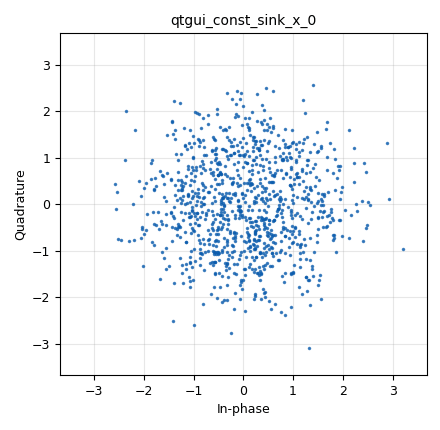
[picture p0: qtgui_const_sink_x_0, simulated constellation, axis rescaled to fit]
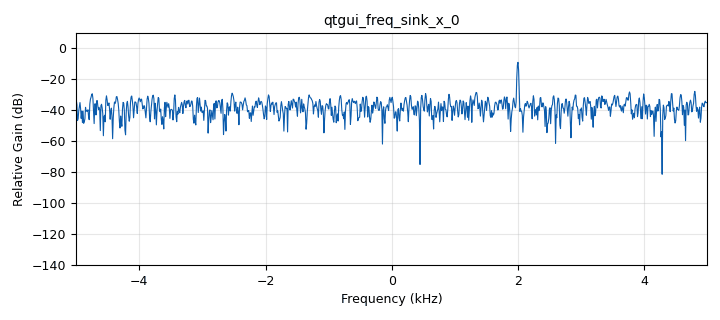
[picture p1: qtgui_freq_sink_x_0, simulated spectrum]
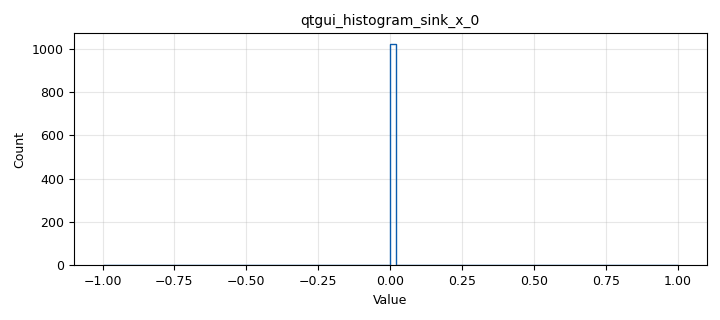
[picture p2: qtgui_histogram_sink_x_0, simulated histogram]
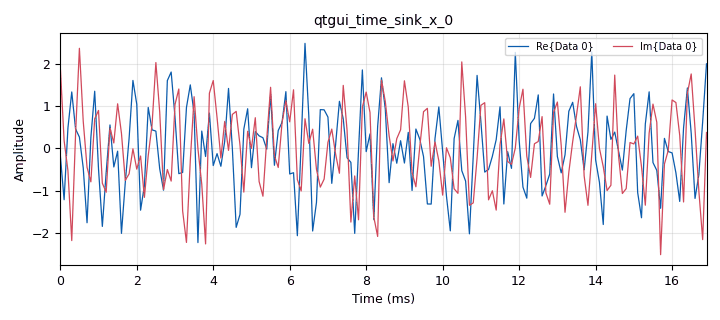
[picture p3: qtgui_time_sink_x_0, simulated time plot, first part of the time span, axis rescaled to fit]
<?xml version='1.0' encoding='utf-8'?>
<?grc format='1' created='3.7.13'?>
<flow_graph>
<block>
<key>options</key>
<param><key>id</key><value>ece531_lab1a</value></param>
<param><key>author</key><value>Brandon Lipjanic</value></param>
<param><key>generate_options</key><value>qt_gui</value></param>
</block>
<block>
<key>variable</key>
<param><key>id</key><value>freq</value></param>
<param><key>value</key><value>2000</value></param>
</block>
<block>
<key>variable_qtgui_range</key>
<param><key>id</key><value>frequency</value></param>
<param><key>value</key><value>2000</value></param>
<param><key>orient</key><value>Qt.Horizontal</value></param>
<param><key>start</key><value>0</value></param>
<param><key>step</key><value>100</value></param>
<param><key>stop</key><value>15000</value></param>
</block>
<block>
<key>variable_qtgui_range</key>
<param><key>id</key><value>magnitude</value></param>
<param><key>value</key><value>0</value></param>
<param><key>orient</key><value>Qt.Horizontal</value></param>
<param><key>start</key><value>0</value></param>
<param><key>step</key><value>0.01</value></param>
<param><key>stop</key><value>1</value></param>
</block>
<block>
<key>variable_qtgui_range</key>
<param><key>id</key><value>phase</value></param>
<param><key>value</key><value>0</value></param>
<param><key>orient</key><value>Qt.Horizontal</value></param>
<param><key>start</key><value>0</value></param>
<param><key>step</key><value>0.1</value></param>
<param><key>stop</key><value>6.2</value></param>
</block>
<block>
<key>variable_qtgui_range</key>
<param><key>id</key><value>samp_rate</value></param>
<param><key>value</key><value>10000</value></param>
<param><key>orient</key><value>Qt.Horizontal</value></param>
<param><key>start</key><value>1000</value></param>
<param><key>step</key><value>200</value></param>
<param><key>stop</key><value>40000</value></param>
</block>
<block>
<key>analog_noise_source_x</key>
<param><key>id</key><value>analog_noise_source_x_0</value></param>
<param><key>amp</key><value>1</value></param>
<param><key>noise_type</key><value>analog.GR_GAUSSIAN</value></param>
<param><key>type</key><value>complex</value></param>
<param><key>seed</key><value>0</value></param>
</block>
<block>
<key>analog_noise_source_x</key>
<param><key>id</key><value>analog_noise_source_x_0_0</value></param>
<param><key>amp</key><value>1</value></param>
<param><key>noise_type</key><value>analog.GR_IMPULSE</value></param>
<param><key>type</key><value>float</value></param>
<param><key>seed</key><value>0</value></param>
</block>
<block>
<key>analog_sig_source_x</key>
<param><key>id</key><value>analog_sig_source_x_0</value></param>
<param><key>amp</key><value>1</value></param>
<param><key>freq</key><value>frequency</value></param>
<param><key>offset</key><value>0</value></param>
<param><key>type</key><value>complex</value></param>
<param><key>samp_rate</key><value>samp_rate</value></param>
<param><key>waveform</key><value>analog.GR_SIN_WAVE</value></param>
</block>
<block>
<key>blocks_add_xx</key>
<param><key>id</key><value>blocks_add_xx_0</value></param>
<param><key>type</key><value>complex</value></param>
</block>
<block>
<key>blocks_throttle</key>
<param><key>id</key><value>blocks_throttle_0</value></param>
<param><key>samples_per_second</key><value>32000</value></param>
<param><key>type</key><value>complex</value></param>
</block>
<block>
<key>channels_iqbal_gen</key>
<param><key>id</key><value>channels_iqbal_gen_0</value></param>
<param><key>mag</key><value>magnitude</value></param>
<param><key>mode</key><value>0</value></param>
<param><key>phase</key><value>phase</value></param>
</block>
<block>
<key>qtgui_const_sink_x</key>
<param><key>id</key><value>qtgui_const_sink_x_0</value></param>
<param><key>size</key><value>1024</value></param>
<param><key>type</key><value>complex</value></param>
</block>
<block>
<key>qtgui_freq_sink_x</key>
<param><key>id</key><value>qtgui_freq_sink_x_0</value></param>
<param><key>bw</key><value>samp_rate</value></param>
<param><key>fc</key><value>0</value></param>
<param><key>fftsize</key><value>1024</value></param>
<param><key>showports</key><value>True</value></param>
<param><key>type</key><value>complex</value></param>
<param><key>wintype</key><value>firdes.WIN_BLACKMAN_hARRIS</value></param>
</block>
<block>
<key>qtgui_histogram_sink_x</key>
<param><key>id</key><value>qtgui_histogram_sink_x_0</value></param>
<param><key>xmax</key><value>1</value></param>
<param><key>xmin</key><value>-1</value></param>
<param><key>bins</key><value>100</value></param>
<param><key>size</key><value>1024</value></param>
<param><key>type</key><value>float</value></param>
</block>
<block>
<key>qtgui_tab_widget</key>
<param><key>id</key><value>qtgui_tab_widget_0</value></param>
<param><key>label0</key><value>Time</value></param>
<param><key>label1</key><value>Frequency</value></param>
<param><key>num_tabs</key><value>2</value></param>
</block>
<block>
<key>qtgui_time_sink_x</key>
<param><key>id</key><value>qtgui_time_sink_x_0</value></param>
<param><key>color1</key><value>"blue"</value></param>
<param><key>label1</key><value></value></param>
<param><key>color2</key><value>"red"</value></param>
<param><key>label2</key><value></value></param>
<param><key>size</key><value>1024</value></param>
<param><key>srate</key><value>samp_rate</value></param>
<param><key>type</key><value>complex</value></param>
</block>
<connection><source_block_id>analog_noise_source_x_0</source_block_id><sink_block_id>blocks_add_xx_0</sink_block_id><source_key>0</source_key><sink_key>1</sink_key></connection>
<connection><source_block_id>analog_noise_source_x_0_0</source_block_id><sink_block_id>qtgui_histogram_sink_x_0</sink_block_id><source_key>0</source_key><sink_key>0</sink_key></connection>
<connection><source_block_id>analog_sig_source_x_0</source_block_id><sink_block_id>blocks_throttle_0</sink_block_id><source_key>0</source_key><sink_key>0</sink_key></connection>
<connection><source_block_id>blocks_add_xx_0</source_block_id><sink_block_id>channels_iqbal_gen_0</sink_block_id><source_key>0</source_key><sink_key>0</sink_key></connection>
<connection><source_block_id>blocks_throttle_0</source_block_id><sink_block_id>blocks_add_xx_0</sink_block_id><source_key>0</source_key><sink_key>0</sink_key></connection>
<connection><source_block_id>channels_iqbal_gen_0</source_block_id><sink_block_id>qtgui_const_sink_x_0</sink_block_id><source_key>0</source_key><sink_key>0</sink_key></connection>
<connection><source_block_id>channels_iqbal_gen_0</source_block_id><sink_block_id>qtgui_freq_sink_x_0</sink_block_id><source_key>0</source_key><sink_key>0</sink_key></connection>
<connection><source_block_id>channels_iqbal_gen_0</source_block_id><sink_block_id>qtgui_time_sink_x_0</sink_block_id><source_key>0</source_key><sink_key>0</sink_key></connection>
</flow_graph>
